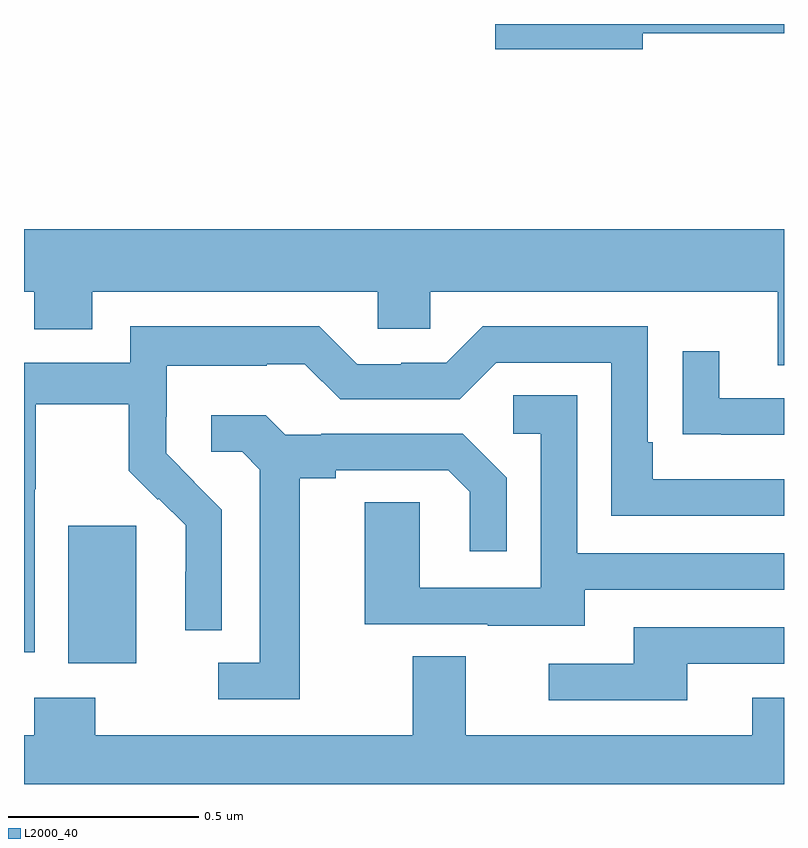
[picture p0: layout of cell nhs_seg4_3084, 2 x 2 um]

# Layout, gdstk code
import gdstk
lib = gdstk.Library(unit=1e-6, precision=1e-09)
def R(c, l, rs):  # rectangles x0, y0, x1, y1
    for r in rs: c.add(gdstk.rectangle(r[:2], r[2:], *l))
def P(c, l, *ps):  # polygons
    for p in ps: c.add(gdstk.Polygon(p, *l))
L2000_40 = (2000, 40)

nhs_seg4_3084 = lib.new_cell('nhs_seg4_3084')
R(nhs_seg4_3084, L2000_40, [(149.117,753.218,149.296,753.579)])
P(nhs_seg4_3084, L2000_40, [(150.628,754.876),(151,754.876),(151,754.9),(150.24,754.9),(150.24,754.834),(150.628,754.834)],
  [(151,754.36),(149,754.36),(149,754.196),(149.027,754.196),(149.027,754.097),(149.179,754.097),(149.179,754.196),(149.931,754.196),(149.931,754.098),(150.069,754.098),(150.069,754.196),(150.983,754.196),(150.983,754.002),(151,754.002)],
  [(149.028,753.247),(149.028,753.676),(149.031,753.676),(149.031,753.9),(149.275,753.9),(149.275,753.725),(149.352,753.648),(149.355,753.651),(149.426,753.581),(149.426,753.458),(149.424,753.458),(149.424,753.304),(149.52,753.304),(149.52,753.622),(149.447,753.695),(149.448,753.696),(149.374,753.77),(149.374,753.867),(149.376,753.867),(149.376,754.001),(149.639,754.001),(149.639,754.005),(149.739,754.005),(149.832,753.912),(150.147,753.912),(150.243,754.008),(150.546,754.008),(150.546,753.606),(151,753.606),(151,753.702),(150.655,753.702),(150.655,753.799),(150.642,753.799),(150.642,754.104),(150.207,754.104),(150.111,754.008),(149.993,754.008),(149.993,754.005),(149.877,754.005),(149.777,754.105),(149.28,754.105),(149.28,754.008),(149,754.008),(149,753.247)],
  [(151,753.915),(150.829,753.915),(150.829,754.039),(150.733,754.039),(150.733,753.82),(150.835,753.82),(150.835,753.819),(151,753.819)],
  [(150.475,753.411),(151,753.411),(151,753.507),(150.456,753.507),(150.456,753.923),(150.288,753.923),(150.288,753.822),(150.36,753.822),(150.36,753.417),(150.042,753.417),(150.042,753.641),(149.897,753.641),(149.897,753.321),(150.221,753.321),(150.221,753.317),(150.475,753.317)],
  [(149.725,753.704),(149.821,753.704),(149.821,753.726),(150.116,753.726),(150.173,753.669),(150.173,753.513),(150.27,753.513),(150.27,753.706),(150.154,753.822),(149.782,753.822),(149.782,753.819),(149.688,753.819),(149.636,753.871),(149.493,753.871),(149.493,753.774),(149.574,753.774),(149.621,753.727),(149.621,753.219),(149.511,753.219),(149.511,753.123),(149.725,753.123)],
  [(150.745,753.216),(151,753.216),(151,753.312),(150.605,753.312),(150.605,753.216),(150.381,753.216),(150.381,753.12),(150.745,753.12)],
  [(151,753.127),(150.917,753.127),(150.917,753.028),(150.163,753.028),(150.163,753.236),(150.023,753.236),(150.023,753.028),(149.187,753.028),(149.187,753.127),(149.027,753.127),(149.027,753.028),(149,753.028),(149,752.9),(151,752.9)])

lib.write_gds('nhs_seg4_3084.gds')
